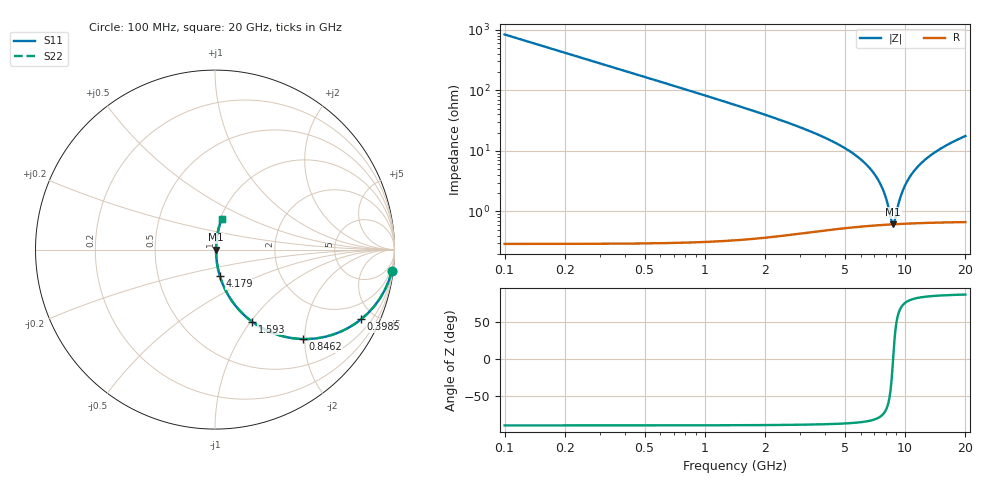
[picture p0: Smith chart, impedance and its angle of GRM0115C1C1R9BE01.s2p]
!Murata Part Number: GRM0115C1C1R9BE01
!These Parameters are Measured in Series Mode Connection
!Data Generated on Mar 30, 2021
!  o--ll--o
!Port1  Port2
!  o------o
!Operation Temp=25[degC], DC Bias Voltage=0[V]
!Freq. Start=100[MHz] Stop=20[GHz] 401[Steps]
# Hz S RI R 50
!Freq.(Hz) S11(Real) S11(Imag) S21(Real) S21(Imag) S12(Real) S12(Imag) S22(Real) S22(Imag)
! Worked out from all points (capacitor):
!   401 points, 100 MHz to 20 GHz, reference 50 ohm
!   read as one part in series: C = 1.9 pF near 199.5 MHz
!   lowest |Z| = 615 mohm at 8.707 GHz (marker M1)
!   series resonance near 8.708 GHz, so ESL is about 180 pH
!   S11 on the Smith chart (normalised r, x): 100 MHz: 1, -17; 398.5 MHz: 1.01, -4.19; 846.2 MHz: 1.01, -1.96; 1.593 GHz: 1.01, -1.01; 4.179 GHz: 1.01, -0.31; 20 GHz: 1.01, +0.35
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1e8  0.9859 -0.1177  0.0141 0.1177  0.0141 0.1177  0.9859 -0.1177
2.99e8  0.8865 -0.3167  0.1135 0.3167  0.1135 0.3167  0.8865 -0.3167
3.985e8  0.8144 -0.3881  0.1856 0.3881  0.1856 0.3881  0.8144 -0.3881
5.975e8  0.6602 -0.4726  0.3398 0.4726  0.3398 0.4726  0.6602 -0.4726
8.4625e8  0.4899 -0.4983  0.5101 0.4983  0.5101 0.4983  0.4899 -0.4983
1.1945e9  0.3216 -0.4647  0.6784 0.4647  0.6784 0.4647  0.3216 -0.4647
1.5925e9  0.2063 -0.4013  0.7937 0.4013  0.7937 0.4013  0.2063 -0.4013
2.33875e9  0.1016 -0.2962  0.8984 0.2962  0.8984 0.2962  0.1016 -0.2962
3.43325e9  0.0442 -0.1948  0.9558 0.1948  0.9558 0.1948  0.0442 -0.1948
4.1795e9  0.0275 -0.1481  0.9725 0.1481  0.9725 0.1481  0.0275 -0.1481
6.7665e9  0.00808 -0.0478  0.9919 0.0478  0.9919 0.0478  0.00808 -0.0478
7.7615e9  0.00644 -0.0216  0.9936 0.0216  0.9936 0.0216  0.00644 -0.0216
8.10975e9  0.0062 -0.0134  0.9938 0.0134  0.9938 0.0134  0.0062 -0.0134
8.5575e9  0.0061 -0.00327  0.9939 0.00327  0.9939 0.00327  0.0061 -0.00327
8.70675e9  0.00611 -2.28e-05  0.9939 2.28e-05  0.9939 2.28e-05  0.00611 -2.28e-05
8.856e9  0.00614 0.00317  0.9939 -0.00317  0.9939 -0.00317  0.00614 0.00317
9.453e9  0.00643 0.0154  0.9936 -0.0154  0.9936 -0.0154  0.00643 0.0154
1.005e10  0.00698 0.0269  0.993 -0.0269  0.993 -0.0269  0.00698 0.0269
1.139325e10  0.00897 0.0508  0.991 -0.0508  0.991 -0.0508  0.00897 0.0508
1.338325e10  0.0133 0.0824  0.9867 -0.0824  0.9867 -0.0824  0.0133 0.0824
1.67165e10  0.0235 0.1286  0.9765 -0.1286  0.9765 -0.1286  0.0235 0.1286
2e10  0.0362 0.1689  0.9638 -0.1689  0.9638 -0.1689  0.0362 0.1689
